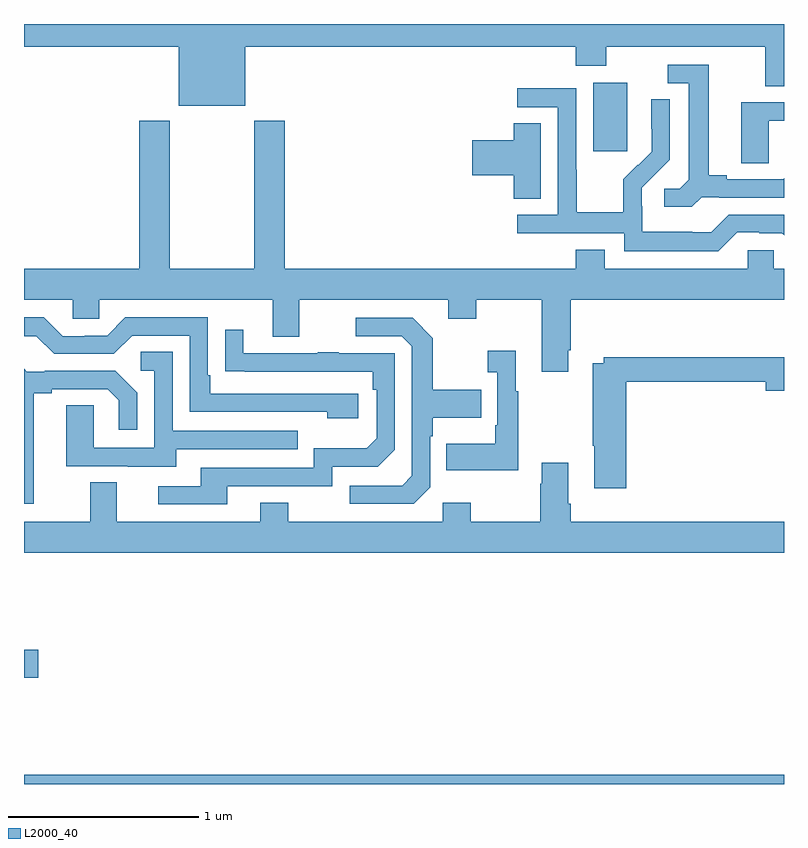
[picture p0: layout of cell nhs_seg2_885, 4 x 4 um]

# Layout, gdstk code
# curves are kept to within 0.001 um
import gdstk
lib = gdstk.Library(unit=1e-6, precision=1e-09)
def R(c, l, rs):  # rectangles x0, y0, x1, y1
    for r in rs: c.add(gdstk.rectangle(r[:2], r[2:], *l))
def P(c, l, *ps):  # polygons
    for p in ps: c.add(gdstk.Polygon(p, *l))
L2000_40 = (2000, 40)

nhs_seg2_885 = lib.new_cell('nhs_seg2_885')
R(nhs_seg2_885, L2000_40, [(157,599.8,161,599.848), (157,600.359,157.075,600.506), (159.995,603.129,160.174,603.49)])
P(nhs_seg2_885, L2000_40, [(158.164,603.68),(159.905,603.68),(159.905,603.581),(160.065,603.581),(160.065,603.68),(160.901,603.68),(160.901,603.472),(161,603.472),(161,603.8),(157,603.8),(157,603.68),(157.814,603.68),(157.814,603.371),(158.164,603.371)],
  [(160.566,602.889),(160.66,602.889),(160.66,602.886),(161,602.886),(161,602.988),(160.994,602.982),(160.699,602.982),(160.699,603.005),(160.603,603.005),(160.603,603.585),(160.389,603.585),(160.389,603.489),(160.499,603.489),(160.499,602.981),(160.452,602.934),(160.371,602.934),(160.371,602.837),(160.514,602.837)],
  [(160.755,602.703),(160.871,602.703),(160.871,602.7),(160.989,602.7),(161,602.689),(161,602.796),(160.71,602.796),(160.617,602.703),(160.517,602.703),(160.517,602.707),(160.254,602.707),(160.254,602.841),(160.252,602.841),(160.252,602.938),(160.398,603.086),(160.398,603.404),(160.302,603.404),(160.302,603.25),(160.304,603.25),(160.304,603.128),(160.233,603.057),(160.23,603.06),(160.153,602.983),(160.153,602.809),(159.909,602.809),(159.909,603.032),(159.906,603.032),(159.906,603.462),(159.597,603.462),(159.597,603.363),(159.81,603.363),(159.81,602.796),(159.597,602.796),(159.597,602.7),(160.158,602.7),(160.158,602.603),(160.655,602.603)],
  [(160.92,603.291),(161,603.291),(161,603.387),(160.775,603.387),(160.775,603.067),(160.92,603.067)],
  [(158.372,603.292),(158.212,603.292),(158.212,602.512),(157.767,602.512),(157.767,603.292),(157.607,603.292),(157.607,602.512),(157,602.512),(157,602.348),(157.257,602.348),(157.257,602.25),(157.395,602.25),(157.395,602.348),(158.309,602.348),(158.309,602.154),(158.449,602.154),(158.449,602.348),(159.233,602.348),(159.233,602.249),(159.381,602.249),(159.381,602.348),(159.725,602.348),(159.725,601.971),(159.865,601.971),(159.865,602.083),(159.878,602.083),(159.878,602.348),(161,602.348),(161,602.512),(160.947,602.512),(160.947,602.61),(160.809,602.61),(160.809,602.512),(160.057,602.512),(160.057,602.611),(159.905,602.611),(159.905,602.512),(158.372,602.512)],
  [(159.721,603.278),(159.578,603.278),(159.578,603.188),(159.36,603.188),(159.36,603.005),(159.578,603.005),(159.578,602.881),(159.721,602.881)],
  [(158.758,601.854),(157.981,601.854),(157.981,601.951),(157.968,601.951),(157.968,602.256),(157.533,602.256),(157.437,602.16),(157.319,602.16),(157.319,602.157),(157.203,602.157),(157.103,602.257),(157,602.257),(157,602.157),(157.065,602.157),(157.158,602.064),(157.473,602.064),(157.569,602.16),(157.872,602.16),(157.872,601.758),(158.597,601.758),(158.597,601.724),(158.758,601.724)],
  [(159.138,601.362),(159.138,601.631),(159.151,601.631),(159.151,601.727),(159.407,601.727),(159.407,601.875),(159.151,601.875),(159.151,602.147),(159.045,602.253),(158.745,602.253),(158.745,602.157),(158.988,602.157),(159.042,602.103),(159.042,601.422),(158.991,601.371),(158.715,601.371),(158.715,601.275),(159.051,601.275)],
  [(158.071,601.368),(158.622,601.368),(158.622,601.47),(158.862,601.47),(158.952,601.56),(158.952,602.067),(158.657,602.067),(158.657,602.072),(158.545,602.072),(158.545,602.067),(158.155,602.067),(158.155,602.191),(158.059,602.191),(158.059,601.972),(158.836,601.971),(158.836,601.874),(158.856,601.874),(158.856,601.62),(158.803,601.567),(158.526,601.567),(158.526,601.464),(157.931,601.464),(157.931,601.368),(157.707,601.368),(157.707,601.272),(158.071,601.272)],
  [(159.601,601.867),(159.589,601.867),(159.589,602.08),(159.441,602.08),(159.441,601.967),(159.492,601.967),(159.492,601.687),(159.48,601.687),(159.48,601.591),(159.223,601.591),(159.223,601.451),(159.601,601.451)],
  [(157.801,601.563),(158.441,601.563),(158.441,601.659),(157.782,601.659),(157.782,602.075),(157.614,602.075),(157.614,601.974),(157.686,601.974),(157.686,601.569),(157.368,601.569),(157.368,601.793),(157.223,601.793),(157.223,601.473),(157.547,601.473),(157.547,601.469),(157.801,601.469)],
  [(160.169,601.918),(160.904,601.918),(160.904,601.871),(161,601.871),(161,602.047),(160.05,602.047),(160.05,602.014),(159.994,602.014),(159.994,601.579),(160.001,601.579),(160.001,601.356),(160.169,601.356)],
  [(157.051,601.856),(157.147,601.856),(157.147,601.878),(157.442,601.878),(157.499,601.821),(157.499,601.665),(157.596,601.665),(157.596,601.858),(157.48,601.974),(157.108,601.974),(157.108,601.971),(157.014,601.971),(157,601.985),(157,601.275),(157.051,601.275)],
  [(161,601.18),(159.878,601.18),(159.878,601.276),(159.865,601.276),(159.865,601.492),(159.725,601.492),(159.725,601.379),(159.718,601.379),(159.718,601.18),(159.351,601.18),(159.351,601.279),(159.204,601.279),(159.204,601.18),(158.391,601.18),(158.391,601.279),(158.243,601.279),(158.243,601.18),(157.489,601.18),(157.489,601.388),(157.349,601.388),(157.349,601.18),(157,601.18),(157,601.016),(161,601.016)])

lib.write_gds('nhs_seg2_885.gds')
